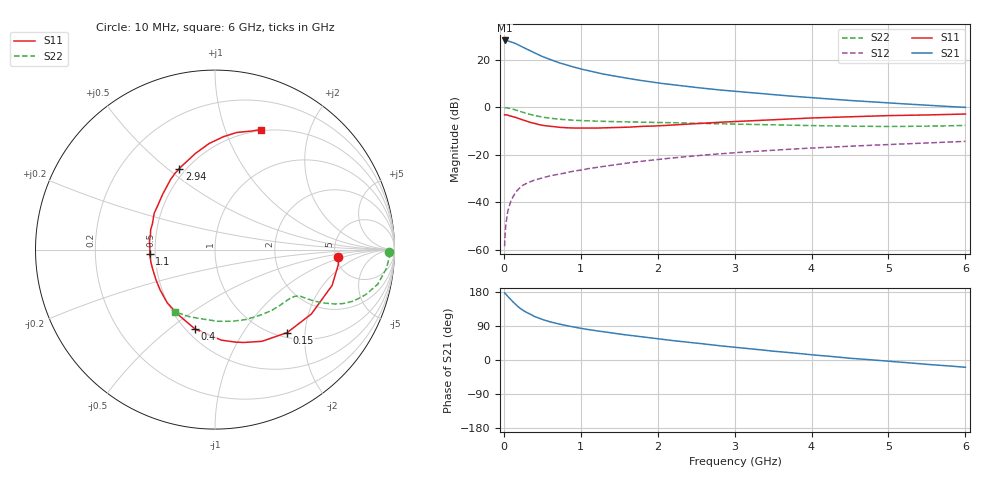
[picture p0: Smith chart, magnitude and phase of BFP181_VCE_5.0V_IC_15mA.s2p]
! Infineon Technologies  Discrete & RF Semiconductors
! BFP181
! VCE = 5.0 V,  IC =  15 mA
! Common Emitter S-Parameters:  Jan 2016
# GHz  S  MA  R  50
!  f  S11  S21  S12  S22
! GHz  MAG  ANG  MAG  ANG  MAG  ANG  MAG  ANG
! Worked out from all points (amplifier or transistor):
!   210 points, 10 MHz to 6 GHz, reference 50 ohm
!   highest |S21| = 28.0 dB at 10 MHz (marker M1)
!   |S21| within 3 dB of that: start of sweep to 259 MHz
!   unconditionally stable (mu >= 1): 946.3 MHz to 5.991 GHz
!   at 185 MHz: K = 0.33, MSG = 30.4 dB, |S12| = -34.7 dB
!   at 1.52 GHz: K = 1.14, MAG = 15.9 dB, |S12| = -23.9 dB
!   at 6 GHz: K = 1.00, MSG = 7.1 dB, |S12| = -14.4 dB
!   S11 on the Smith chart (normalised r, x): 10 MHz: 5.29, -0.85; 150 MHz: 1.09, -1.62; 400 MHz: 0.55, -0.62; 1.1 GHz: 0.47, -0.03; 2.94 GHz: 0.46, +0.55; 6 GHz: 0.49, +1.34
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0.01  0.6892 -3.5  25.16 177.0  0.0012 85.0  0.9704 -0.9
0.02  0.6924 -6.8  25.07 175.2  0.0026 85.8  0.9723 -2.3
0.05  0.6824 -17.0  24.72 168.0  0.0063 85.0  0.9611 -6.2
0.1  0.6457 -33.8  23.34 157.1  0.0114 74.0  0.9273 -12.0
0.15  0.6128 -49.0  21.76 146.9  0.0159 68.0  0.877 -16.6
0.2  0.574 -62.9  19.99 138.2  0.0197 63.6  0.8263 -20.2
0.24  0.5427 -72.4  18.46 132.4  0.0223 60.8  0.7859 -22.3
0.3  0.506 -85.9  16.51 124.9  0.0253 57.4  0.7334 -24.4
0.4  0.4562 -104.1  13.75 114.5  0.0294 54.5  0.6654 -26.5
0.5  0.4161 -119.8  11.57 106.8  0.0326 52.3  0.6175 -27.5
0.6  0.3984 -132.0  10.03 100.8  0.036 52.0  0.5846 -28.0
0.7  0.3798 -143.5  8.72 95.7  0.0387 52.5  0.5614 -28.4
0.8  0.37 -152.2  7.803 91.2  0.0413 52.1  0.5447 -28.6
1.02  0.3636 -170.2  6.227 83.0  0.0481 52.9  0.5203 -29.9
1.1  0.3644 -175.9  5.813 80.2  0.0511 53.1  0.5137 -30.5
1.5  0.3753 162.7  4.313 68.5  0.0635 52.7  0.4936 -34.3
2.02  0.4058 140.7  3.198 55.5  0.0802 50.4  0.4765 -40.9
2.94  0.4931 113.7  2.195 34.9  0.1084 44.5  0.4434 -55.6
3.1  0.507 109.9  2.081 31.8  0.113 43.3  0.4371 -58.4
4.1  0.5988 91.6  1.538 12.2  0.1408 35.6  0.4073 -78.7
5.1  0.6674 78.4  1.199 -4.8  0.1664 28.0  0.3931 -101.5
6  0.7165 69.0  0.987 -19.2  0.1908 20.9  0.4124 -122.6
